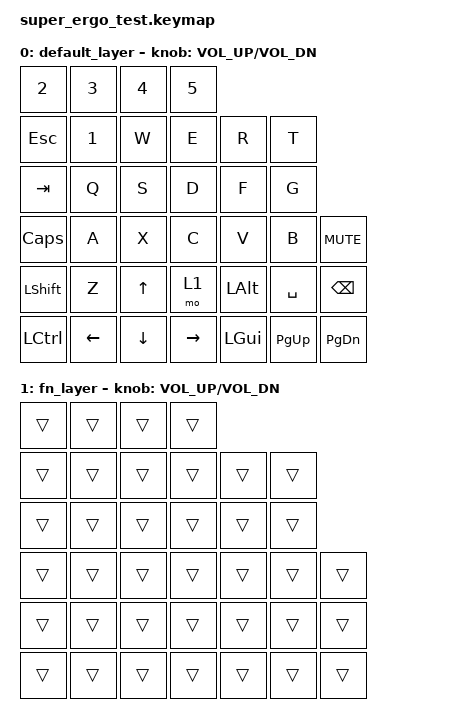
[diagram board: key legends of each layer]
// See https://zmk.dev/docs/development/hardware-integration/new-shield#default-keymap.

#include <behaviors.dtsi>
#include <dt-bindings/zmk/keys.h>

/ {
    keymap {
        compatible = "zmk,keymap";

        default_layer {
            bindings = <
            // Row 0: 4 keys
                &kp N2      &kp N3      &kp N4      &kp N5
            // Row 1: 6 keys
                &kp ESC     &kp N1      &kp W       &kp E       &kp R       &kp T
            // Row 2: 6 keys
                &kp TAB     &kp Q       &kp S       &kp D       &kp F       &kp G
            // Row 3: 6 keys + encoder button (mute)
                &kp CAPS    &kp A       &kp X       &kp C       &kp V       &kp B      &kp C_MUTE
            // Row 4: 7 keys
                &kp LSHFT   &kp Z       &kp UP      &mo 1       &kp LALT   &kp SPACE    &kp BSPC
            // Row 5: 7 keys
                &kp LCTRL   &kp LEFT    &kp DOWN    &kp RIGHT   &kp LGUI    &kp PG_UP   &kp PG_DN
            >;

            sensor-bindings = <&inc_dec_kp C_VOL_UP C_VOL_DN>;
        };

        fn_layer {
            bindings = <
            // Row 0
                &trans      &trans      &trans      &trans
            // Row 1
                &trans      &trans      &trans      &trans      &trans      &trans
            // Row 2
                &trans      &trans      &trans      &trans      &trans      &trans
            // Row 3
                &trans      &trans      &trans      &trans      &trans      &trans      &trans
            // Row 4
                &trans      &trans      &trans      &trans      &trans      &trans      &trans
            // Row 5
                &trans      &trans      &trans      &trans      &trans      &trans      &trans
            >;

            sensor-bindings = <&inc_dec_kp C_VOL_UP C_VOL_DN>;
        };
    };
};
